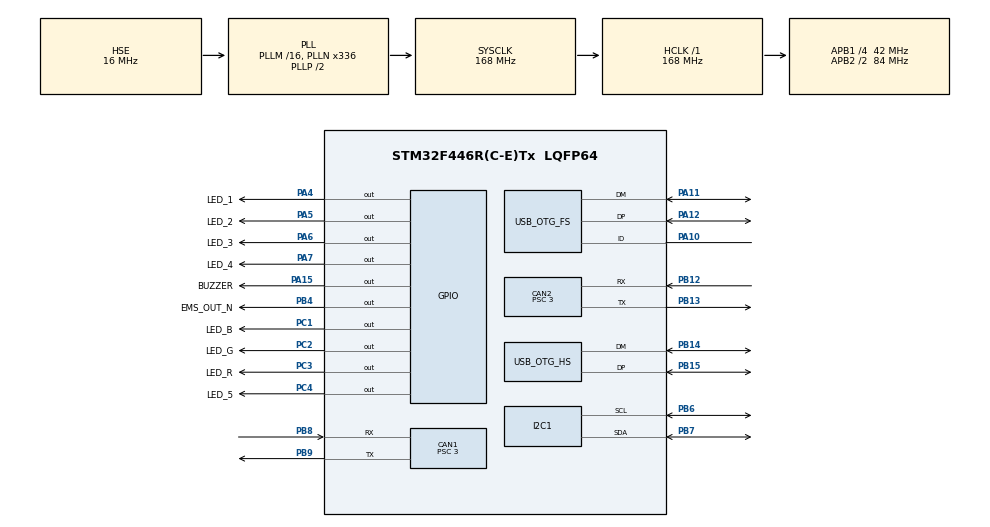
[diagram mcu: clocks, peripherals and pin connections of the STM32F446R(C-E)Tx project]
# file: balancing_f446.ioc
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CAN1.BS1=CAN_BS1_11TQ
CAN1.BS2=CAN_BS2_2TQ
CAN1.CalculateBaudRate=1000000
CAN1.CalculateTimeBit=1000
CAN1.CalculateTimeQuantum=71.42857142857143
CAN1.Prescaler=3
CAN2.BS1=CAN_BS1_11TQ
CAN2.BS2=CAN_BS2_2TQ
CAN2.CalculateBaudRate=1000000
CAN2.CalculateTimeBit=1000
CAN2.CalculateTimeQuantum=71.42857142857143
CAN2.Prescaler=3
Mcu.Family=STM32F4
Mcu.Name=STM32F446R(C-E)Tx
Mcu.Package=LQFP64
NVIC.CAN1_RX0_IRQn=true\:0\:0\:false\:false\:true\:true\:true\:true
NVIC.CAN1_SCE_IRQn=true\:0\:0\:false\:false\:true\:true\:true\:true
NVIC.CAN1_TX_IRQn=true\:0\:0\:false\:false\:true\:true\:true\:true
NVIC.CAN2_RX0_IRQn=true\:0\:0\:false\:false\:true\:true\:true\:true
NVIC.CAN2_SCE_IRQn=true\:0\:0\:false\:false\:true\:true\:true\:true
NVIC.CAN2_TX_IRQn=true\:0\:0\:false\:false\:true\:true\:true\:true
NVIC.PriorityGroup=NVIC_PRIORITYGROUP_4
NVIC.TIM7_IRQn=true\:0\:0\:false\:false\:true\:true\:true\:true
PA1.Signal=USART2_RTS
PA10.Mode=OTG/Dual_Role_Device
PA10.Signal=USB_OTG_FS_ID
PA11.Mode=OTG/Dual_Role_Device
PA11.Signal=USB_OTG_FS_DM
PA12.Mode=OTG/Dual_Role_Device
PA12.Signal=USB_OTG_FS_DP
PA13.Signal=SYS_JTMS-SWDIO
PA14.Signal=SYS_JTCK-SWCLK
PA15.GPIO_Label=BUZZER
PA15.Signal=GPIO_Output
PA2.Signal=USART2_TX
PA4.GPIO_Label=LED_1
PA4.Signal=GPIO_Output
PA5.GPIO_Label=LED_2
PA5.Signal=GPIO_Output
PA6.GPIO_Label=LED_3
PA6.Signal=GPIO_Output
PA7.GPIO_Label=LED_4
PA7.Signal=GPIO_Output
PA9.Signal=USB_OTG_FS_VBUS
PB12.Mode=CAN_Activate
PB12.Signal=CAN2_RX
PB13.Mode=CAN_Activate
PB13.Signal=CAN2_TX
PB14.Mode=Host_FS
PB14.Signal=USB_OTG_HS_DM
PB15.Mode=Host_FS
PB15.Signal=USB_OTG_HS_DP
PB3.Signal=SYS_JTDO-SWO
PB4.GPIO_Label=EMS_OUT_N
PB4.Signal=GPIO_Output
PB6.Mode=I2C
PB6.Signal=I2C1_SCL
PB7.Mode=I2C
PB7.Signal=I2C1_SDA
PB8.Mode=CAN_Activate
PB8.Signal=CAN1_RX
PB9.Mode=CAN_Activate
PB9.Signal=CAN1_TX
PC1.GPIO_Label=LED_B
PC1.Signal=GPIO_Output
PC10.Signal=UART4_TX
PC11.Signal=UART4_RX
PC2.GPIO_Label=LED_G
PC2.Signal=GPIO_Output
PC3.GPIO_Label=LED_R
PC3.Signal=GPIO_Output
PC4.GPIO_Label=LED_5
PC4.Signal=GPIO_Output
PH0-OSC_IN.Mode=HSE-External-Oscillator
PH0-OSC_IN.Signal=RCC_OSC_IN
PH1-OSC_OUT.Mode=HSE-External-Oscillator
PH1-OSC_OUT.Signal=RCC_OSC_OUT
ProjectManager.HeapSize=0x200
ProjectManager.StackSize=0x400
ProjectManager.TargetToolchain=STM32CubeIDE
RCC.AHBFreq_Value=168000000
RCC.APB1CLKDivider=RCC_HCLK_DIV4
RCC.APB1Freq_Value=42000000
RCC.APB1TimFreq_Value=84000000
RCC.APB2CLKDivider=RCC_HCLK_DIV2
RCC.APB2Freq_Value=84000000
RCC.APB2TimFreq_Value=168000000
RCC.CortexFreq_Value=168000000
RCC.HCLKFreq_Value=168000000
RCC.HSE_VALUE=16000000
RCC.PLLN=336
RCC.PLLQ=7
RCC.SYSCLKFreq_VALUE=168000000
RCC.SYSCLKSource=RCC_SYSCLKSOURCE_PLLCLK
RCC.USBFreq_Value=48000000
RCC.VCOOutputFreq_Value=336000000
TIM7.Period=19
TIM7.Prescaler=8399
USB_OTG_HS.VirtualMode-Host_FS=Host_FS
VP_TIM7_VS_ClockSourceINT.Mode=Enable_Timer
board=custom

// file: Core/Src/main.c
/* USER CODE BEGIN Header */
/**
  ******************************************************************************
  * @file           : main.c
  * @brief          : Main program body
  ******************************************************************************
  * @attention
  *
  * Copyright (c) 2026 STMicroelectronics.
  * All rights reserved.
  *
  * This software is licensed under terms that can be found in the LICENSE file
  * in the root directory of this software component.
  * If no LICENSE file comes with this software, it is provided AS-IS.
  *
  ******************************************************************************
  */
/* USER CODE END Header */
#include "main.h"

/* USER CODE BEGIN Includes */
#include "../../App/Inc/balancing_app_bridge.h"
/* USER CODE END Includes */

CAN_HandleTypeDef hcan1;
CAN_HandleTypeDef hcan2;

I2C_HandleTypeDef hi2c1;

TIM_HandleTypeDef htim7;

HCD_HandleTypeDef hhcd_USB_OTG_HS;

/* USER CODE BEGIN PV */
/* TIM7 ISRが生成する500 Hzイベント。制御計算は必ずmain側で実行する。 */
static volatile uint8_t control_tick_pending = 0u;
static volatile uint32_t control_tick_overruns = 0u;
/* USER CODE END PV */

void SystemClock_Config(void);
static void MX_GPIO_Init(void);
static void MX_CAN1_Init(void);
static void MX_CAN2_Init(void);
static void MX_USB_OTG_FS_USB_Init(void);
static void MX_TIM7_Init(void);
static void MX_I2C1_Init(void);
static void MX_USB_OTG_HS_HCD_Init(void);

int main(void)
{

  /* MCU Configuration--------------------------------------------------------*/

  /* Reset of all peripherals, Initializes the Flash interface and the Systick. */
  HAL_Init();

  /* Configure the system clock */
  SystemClock_Config();

  /* Initialize all configured peripherals */
  MX_GPIO_Init();
  MX_CAN1_Init();
  MX_CAN2_Init();
  MX_USB_OTG_FS_USB_Init();
  MX_TIM7_Init();
  MX_I2C1_Init();
  MX_USB_OTG_HS_HCD_Init();
  /* USER CODE BEGIN 2 */
  balancing_app_init();
  /* CANは受信フィルタ・状態機械の実機検証が完了するまで開始しない。
   * C++アプリは現在モータ出力なし。 */
  if (HAL_TIM_Base_Start_IT(&htim7) != HAL_OK)
  {
    Error_Handler();
  }
  /* USER CODE END 2 */

  /* Infinite loop */
  while (1)
  {

    /* USER CODE BEGIN 3 */
    uint8_t do_control;
    uint32_t primask = __get_PRIMASK();
    __disable_irq();
    do_control = control_tick_pending;
    control_tick_pending = 0u;
    __set_PRIMASK(primask);
    if (do_control != 0u)
    {
      balancing_app_control_tick();
    }
    balancing_app_poll();
  }
  /* USER CODE END 3 */
}

void SystemClock_Config(void)
{
  RCC_OscInitTypeDef RCC_OscInitStruct = {0};
  RCC_ClkInitTypeDef RCC_ClkInitStruct = {0};

  /** Configure the main internal regulator output voltage
  */
  __HAL_RCC_PWR_CLK_ENABLE();
  __HAL_PWR_VOLTAGESCALING_CONFIG(PWR_REGULATOR_VOLTAGE_SCALE1);

  /** Initializes the RCC Oscillators according to the specified parameters
  * in the RCC_OscInitTypeDef structure.
  */
  RCC_OscInitStruct.OscillatorType = RCC_OSCILLATORTYPE_HSE;
  RCC_OscInitStruct.HSEState = RCC_HSE_ON;
  RCC_OscInitStruct.PLL.PLLState = RCC_PLL_ON;
  RCC_OscInitStruct.PLL.PLLSource = RCC_PLLSOURCE_HSE;
  RCC_OscInitStruct.PLL.PLLM = 16;
  RCC_OscInitStruct.PLL.PLLN = 336;
  RCC_OscInitStruct.PLL.PLLP = RCC_PLLP_DIV2;
  RCC_OscInitStruct.PLL.PLLQ = 7;
  RCC_OscInitStruct.PLL.PLLR = 2;
  if (HAL_RCC_OscConfig(&RCC_OscInitStruct) != HAL_OK)
  {
    Error_Handler();
  }

  /** Initializes the CPU, AHB and APB buses clocks
  */
  RCC_ClkInitStruct.ClockType = RCC_CLOCKTYPE_HCLK|RCC_CLOCKTYPE_SYSCLK
                              |RCC_CLOCKTYPE_PCLK1|RCC_CLOCKTYPE_PCLK2;
  RCC_ClkInitStruct.SYSCLKSource = RCC_SYSCLKSOURCE_PLLCLK;
  RCC_ClkInitStruct.AHBCLKDivider = RCC_SYSCLK_DIV1;
  RCC_ClkInitStruct.APB1CLKDivider = RCC_HCLK_DIV4;
  RCC_ClkInitStruct.APB2CLKDivider = RCC_HCLK_DIV2;

  if (HAL_RCC_ClockConfig(&RCC_ClkInitStruct, FLASH_LATENCY_5) != HAL_OK)
  {
    Error_Handler();
  }
}

static void MX_CAN1_Init(void)
{

  hcan1.Instance = CAN1;
  hcan1.Init.Prescaler = 3;
  hcan1.Init.Mode = CAN_MODE_NORMAL;
  hcan1.Init.SyncJumpWidth = CAN_SJW_1TQ;
  hcan1.Init.TimeSeg1 = CAN_BS1_11TQ;
  hcan1.Init.TimeSeg2 = CAN_BS2_2TQ;
  hcan1.Init.TimeTriggeredMode = DISABLE;
  hcan1.Init.AutoBusOff = DISABLE;
  hcan1.Init.AutoWakeUp = DISABLE;
  hcan1.Init.AutoRetransmission = DISABLE;
  hcan1.Init.ReceiveFifoLocked = DISABLE;
  hcan1.Init.TransmitFifoPriority = DISABLE;
  if (HAL_CAN_Init(&hcan1) != HAL_OK)
  {
    Error_Handler();
  }

}

static void MX_CAN2_Init(void)
{

  hcan2.Instance = CAN2;
  hcan2.Init.Prescaler = 3;
  hcan2.Init.Mode = CAN_MODE_NORMAL;
  hcan2.Init.SyncJumpWidth = CAN_SJW_1TQ;
  hcan2.Init.TimeSeg1 = CAN_BS1_11TQ;
  hcan2.Init.TimeSeg2 = CAN_BS2_2TQ;
  hcan2.Init.TimeTriggeredMode = DISABLE;
  hcan2.Init.AutoBusOff = DISABLE;
  hcan2.Init.AutoWakeUp = DISABLE;
  hcan2.Init.AutoRetransmission = DISABLE;
  hcan2.Init.ReceiveFifoLocked = DISABLE;
  hcan2.Init.TransmitFifoPriority = DISABLE;
  if (HAL_CAN_Init(&hcan2) != HAL_OK)
  {
    Error_Handler();
  }

}

static void MX_I2C1_Init(void)
{

  hi2c1.Instance = I2C1;
  hi2c1.Init.ClockSpeed = 100000;
  hi2c1.Init.DutyCycle = I2C_DUTYCYCLE_2;
  hi2c1.Init.OwnAddress1 = 0;
  hi2c1.Init.AddressingMode = I2C_ADDRESSINGMODE_7BIT;
  hi2c1.Init.DualAddressMode = I2C_DUALADDRESS_DISABLE;
  hi2c1.Init.OwnAddress2 = 0;
  hi2c1.Init.GeneralCallMode = I2C_GENERALCALL_DISABLE;
  hi2c1.Init.NoStretchMode = I2C_NOSTRETCH_DISABLE;
  if (HAL_I2C_Init(&hi2c1) != HAL_OK)
  {
    Error_Handler();
  }

}

static void MX_TIM7_Init(void)
{

  TIM_MasterConfigTypeDef sMasterConfig = {0};

  htim7.Instance = TIM7;
  htim7.Init.Prescaler = 8399;
  htim7.Init.CounterMode = TIM_COUNTERMODE_UP;
  htim7.Init.Period = 19;
  htim7.Init.AutoReloadPreload = TIM_AUTORELOAD_PRELOAD_DISABLE;
  if (HAL_TIM_Base_Init(&htim7) != HAL_OK)
  {
    Error_Handler();
  }
  sMasterConfig.MasterOutputTrigger = TIM_TRGO_RESET;
  sMasterConfig.MasterSlaveMode = TIM_MASTERSLAVEMODE_DISABLE;
  if (HAL_TIMEx_MasterConfigSynchronization(&htim7, &sMasterConfig) != HAL_OK)
  {
    Error_Handler();
  }

}

static void MX_USB_OTG_FS_USB_Init(void)
{

}

static void MX_USB_OTG_HS_HCD_Init(void)
{

  hhcd_USB_OTG_HS.Instance = USB_OTG_HS;
  hhcd_USB_OTG_HS.Init.Host_channels = 16;
  hhcd_USB_OTG_HS.Init.speed = HCD_SPEED_FULL;
  hhcd_USB_OTG_HS.Init.dma_enable = DISABLE;
  hhcd_USB_OTG_HS.Init.phy_itface = USB_OTG_EMBEDDED_PHY;
  hhcd_USB_OTG_HS.Init.Sof_enable = DISABLE;
  hhcd_USB_OTG_HS.Init.low_power_enable = DISABLE;
  hhcd_USB_OTG_HS.Init.vbus_sensing_enable = DISABLE;
  hhcd_USB_OTG_HS.Init.use_external_vbus = DISABLE;
  if (HAL_HCD_Init(&hhcd_USB_OTG_HS) != HAL_OK)
  {
    Error_Handler();
  }

}

static void MX_GPIO_Init(void)
{
  GPIO_InitTypeDef GPIO_InitStruct = {0};

  /* GPIO Ports Clock Enable */
  __HAL_RCC_GPIOH_CLK_ENABLE();
  __HAL_RCC_GPIOC_CLK_ENABLE();
  __HAL_RCC_GPIOA_CLK_ENABLE();
  __HAL_RCC_GPIOB_CLK_ENABLE();

  /*Configure GPIO pin Output Level */
  HAL_GPIO_WritePin(GPIOC, LED_B_Pin|LED_G_Pin|LED_R_Pin|LED_5_Pin, GPIO_PIN_RESET);

  /*Configure GPIO pin Output Level */
  HAL_GPIO_WritePin(GPIOA, LED_1_Pin|LED_2_Pin|LED_3_Pin|LED_4_Pin
                          |BUZZER_Pin, GPIO_PIN_RESET);

  /*Configure GPIO pin Output Level */
  HAL_GPIO_WritePin(EMS_OUT_N_GPIO_Port, EMS_OUT_N_Pin, GPIO_PIN_RESET);

  /*Configure GPIO pins : LED_B_Pin LED_G_Pin LED_R_Pin LED_5_Pin */
  GPIO_InitStruct.Pin = LED_B_Pin|LED_G_Pin|LED_R_Pin|LED_5_Pin;
  GPIO_InitStruct.Mode = GPIO_MODE_OUTPUT_PP;
  GPIO_InitStruct.Pull = GPIO_NOPULL;
  GPIO_InitStruct.Speed = GPIO_SPEED_FREQ_LOW;
  HAL_GPIO_Init(GPIOC, &GPIO_InitStruct);

  /*Configure GPIO pins : PA1 PA2 */
  GPIO_InitStruct.Pin = GPIO_PIN_1|GPIO_PIN_2;
  GPIO_InitStruct.Mode = GPIO_MODE_AF_PP;
  GPIO_InitStruct.Pull = GPIO_NOPULL;
  GPIO_InitStruct.Speed = GPIO_SPEED_FREQ_VERY_HIGH;
  GPIO_InitStruct.Alternate = GPIO_AF7_USART2;
  HAL_GPIO_Init(GPIOA, &GPIO_InitStruct);

  /*Configure GPIO pins : LED_1_Pin LED_2_Pin LED_3_Pin LED_4_Pin
                           BUZZER_Pin */
  GPIO_InitStruct.Pin = LED_1_Pin|LED_2_Pin|LED_3_Pin|LED_4_Pin
                          |BUZZER_Pin;
  GPIO_InitStruct.Mode = GPIO_MODE_OUTPUT_PP;
  GPIO_InitStruct.Pull = GPIO_NOPULL;
  GPIO_InitStruct.Speed = GPIO_SPEED_FREQ_LOW;
  HAL_GPIO_Init(GPIOA, &GPIO_InitStruct);

  /*Configure GPIO pin : PA9 */
  GPIO_InitStruct.Pin = GPIO_PIN_9;
  GPIO_InitStruct.Mode = GPIO_MODE_INPUT;
  GPIO_InitStruct.Pull = GPIO_NOPULL;
  HAL_GPIO_Init(GPIOA, &GPIO_InitStruct);

  /*Configure GPIO pins : PA10 PA11 PA12 */
  GPIO_InitStruct.Pin = GPIO_PIN_10|GPIO_PIN_11|GPIO_PIN_12;
  GPIO_InitStruct.Mode = GPIO_MODE_AF_PP;
  GPIO_InitStruct.Pull = GPIO_NOPULL;
  GPIO_InitStruct.Speed = GPIO_SPEED_FREQ_VERY_HIGH;
  GPIO_InitStruct.Alternate = GPIO_AF10_OTG_FS;
  HAL_GPIO_Init(GPIOA, &GPIO_InitStruct);

  /*Configure GPIO pins : PC10 PC11 */
  GPIO_InitStruct.Pin = GPIO_PIN_10|GPIO_PIN_11;
  GPIO_InitStruct.Mode = GPIO_MODE_AF_PP;
  GPIO_InitStruct.Pull = GPIO_NOPULL;
  GPIO_InitStruct.Speed = GPIO_SPEED_FREQ_VERY_HIGH;
  GPIO_InitStruct.Alternate = GPIO_AF8_UART4;
  HAL_GPIO_Init(GPIOC, &GPIO_InitStruct);

  /*Configure GPIO pin : EMS_OUT_N_Pin */
  GPIO_InitStruct.Pin = EMS_OUT_N_Pin;
  GPIO_InitStruct.Mode = GPIO_MODE_OUTPUT_PP;
  GPIO_InitStruct.Pull = GPIO_NOPULL;
  GPIO_InitStruct.Speed = GPIO_SPEED_FREQ_LOW;
  HAL_GPIO_Init(EMS_OUT_N_GPIO_Port, &GPIO_InitStruct);

}

/* USER CODE BEGIN 4 */
void HAL_TIM_PeriodElapsedCallback(TIM_HandleTypeDef *htim)
{
  if (htim->Instance == TIM7)
  {
    if (control_tick_pending != 0u)
    {
      /* 2 ms以内に前回のイベントを処理できなかった回数。 */
      ++control_tick_overruns;
    }
    control_tick_pending = 1u;
  }
}
/* USER CODE END 4 */

void Error_Handler(void)
{
  __disable_irq();
  while (1)
  {
  }
}
